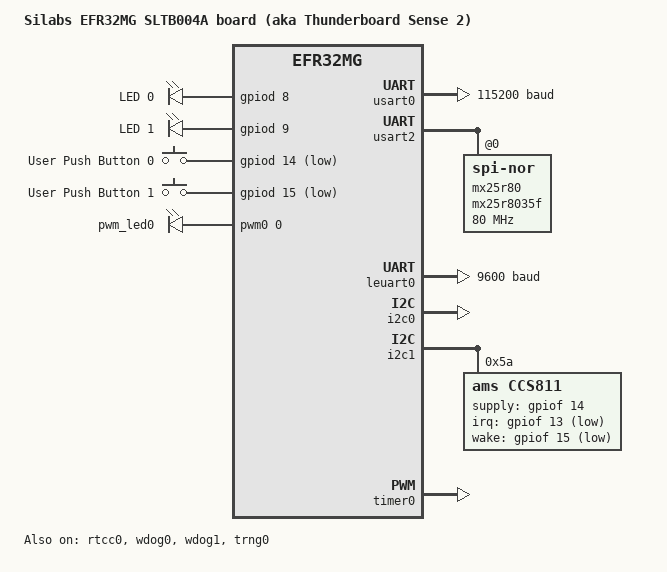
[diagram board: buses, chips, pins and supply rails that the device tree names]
/*
 * Copyright (c) 2018 Diego Sueiro
 *
 * SPDX-License-Identifier: Apache-2.0
 */

/dts-v1/;
#include <silabs/efr32mg12p332f1024gl125.dtsi>

/ {
	model = "Silabs EFR32MG SLTB004A board (aka Thunderboard Sense 2)";
	compatible = "silabs,efr32mg_sltb004a", "silabs,efr32mg";

	/* These aliases are provided for compatibility with samples */
	aliases {
		led0 = &led0;
		led1 = &led1;
		pwm-led0 = &pwm_led0;
		sw0 = &button0;
		sw1 = &button1;
		watchdog0 = &wdog0;
		watchdog1 = &wdog1;
		spi-flash0 = &mx25r80;
	};

	chosen {
		zephyr,console = &usart0;
		zephyr,shell-uart = &usart0;
		zephyr,sram = &sram0;
		zephyr,flash = &flash0;
	};

	leds {
		compatible = "gpio-leds";
		led0: led_0 {
			gpios = <&gpiod 8 0>;
			label = "LED 0";
		};
		led1: led_1 {
			gpios = <&gpiod 9 0>;
			label = "LED 1";
		};
	};

	buttons {
		compatible = "gpio-keys";
		button0: button_0 {
			/* gpio flags need validation */
			gpios = <&gpiod 14 GPIO_ACTIVE_LOW>;
			label = "User Push Button 0";
		};
		button1: button_1 {
			/* gpio flags need validation */
			gpios = <&gpiod 15 GPIO_ACTIVE_LOW>;
			label = "User Push Button 1";
		};
	};

	pwmleds {
		compatible = "pwm-leds";
		status = "okay";
		pwm_led0: pwm_led0 {
			pwms = <&pwm0 0 PWM_MSEC(20) PWM_POLARITY_NORMAL>;
		};
	};
};

&cpu0 {
	clock-frequency = <38400000>;
};

&usart0 {
	current-speed = <115200>;
	location-rx = <GECKO_LOCATION(0) GECKO_PORT_A GECKO_PIN(1)>;
	location-tx = <GECKO_LOCATION(0) GECKO_PORT_A GECKO_PIN(0)>;
	status = "okay";
};

&usart2 {
	compatible = "silabs,gecko-spi-usart";

	#address-cells = <1>;
	#size-cells = <0>;

	location-rx = <GECKO_LOCATION(30) GECKO_PORT_K GECKO_PIN(2)>;
	location-tx = <GECKO_LOCATION(29) GECKO_PORT_K GECKO_PIN(0)>;
	location-clk = <GECKO_LOCATION(18) GECKO_PORT_F GECKO_PIN(7)>;

	cs-gpios = <&gpiok 1 GPIO_ACTIVE_LOW>;

	status = "okay";

	mx25r80: mx25r8035f@0 {
		compatible = "jedec,spi-nor";
		reg = <0>;
		spi-max-frequency = <80000000>;
		size = <0x800000>;
		jedec-id = [c2 28 14];
		sfdp-bfp = [
			 e5 20 f1 ff  ff ff 7f 00  44 eb 08 6b  08 3b 04 bb
			 ee ff ff ff  ff ff 00 ff  ff ff 00 ff  0c 20 0f 52
			 10 d8 00 ff  23 72 f5 00  82 ed 04 b7  44 83 38 44
			 30 b0 30 b0  f7 c4 d5 5c  00 be 29 ff  f0 d0 ff ff
		];
	};
};

&leuart0 {
	current-speed = <9600>;
	location-rx = <GECKO_LOCATION(27) GECKO_PORT_F GECKO_PIN(4)>;
	location-tx = <GECKO_LOCATION(27) GECKO_PORT_F GECKO_PIN(3)>;
	status = "okay";
};

&i2c0 {
	location-sda = <GECKO_LOCATION(15) GECKO_PORT_C GECKO_PIN(10)>;
	location-scl = <GECKO_LOCATION(15) GECKO_PORT_C GECKO_PIN(11)>;
	status = "okay";
};

&i2c1 {
	/* This set selects for CCS811_I2C supporting CCS811 */
	location-sda = <GECKO_LOCATION(6) GECKO_PORT_B GECKO_PIN(6)>;
	location-scl = <GECKO_LOCATION(6) GECKO_PORT_B GECKO_PIN(7)>;
	status = "okay";

	ccs811: ccs811@5a {
		compatible = "ams,ccs811";
		reg = <0x5a>;
		supply-gpios = <&gpiof 14 GPIO_ACTIVE_HIGH>;
		irq-gpios = <&gpiof 13 GPIO_ACTIVE_LOW>;
		wake-gpios = <&gpiof 15 GPIO_ACTIVE_LOW>;
	};

	/* This set selects for ENV_I2C supporting Si7021, Si11330, BMP280 */
	/*
	location-sda = <GECKO_LOCATION(17) GECKO_PORT_C GECKO_PIN(4)>;
	location-scl = <GECKO_LOCATION(17) GECKO_PORT_C GECKO_PIN(5)>;
	*/

	/* This set selects for HALL_I2C supporting Si7210 */
	/*
	location-sda = <GECKO_LOCATION(8) GECKO_PORT_B GECKO_PIN(8)>;
	location-scl = <GECKO_LOCATION(8) GECKO_PORT_B GECKO_PIN(9)>;
	*/
};

&rtcc0 {
	prescaler = <1>;
	status = "okay";
};

&timer0 {
	status = "okay";

	pwm0: pwm {
		status = "okay";
		pin-location = <GECKO_LOCATION(17) GECKO_PORT_D GECKO_PIN(9)>;
		prescaler = <1024>;
	};
};

&gpio {
	location-swo = <0>;
	status = "okay";
};

&gpioa {
	status = "okay";
};

&gpiod {
	status = "okay";
};

&gpiof {
	status = "okay";
};

&gpiok {
	status = "okay";
};

&wdog0 {
	status = "okay";
};

&wdog1 {
	status = "okay";
};

&flash0 {

	partitions {
		compatible = "fixed-partitions";
		#address-cells = <1>;
		#size-cells = <1>;

		/* Set 6Kb of storage at the end of the 1024Kb of flash */
		storage_partition: partition@fe800 {
			label = "storage";
			reg = <0x000fe800 0x00001800>;
		};

	};
};

&trng0 {
		status = "okay";
};
